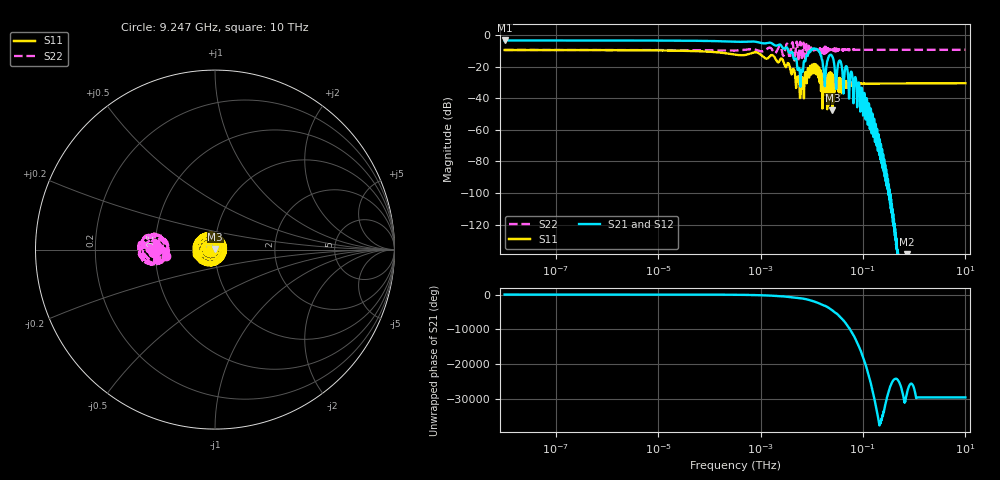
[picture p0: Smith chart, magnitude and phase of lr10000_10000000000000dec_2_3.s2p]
! NPort=2 DATA=4501 NOISE=0 GROUPDELAY=0 COMPLEX_DATAFORMAT=RI
! NumOfBlock=1 NumOfParam=0
! .MODEL Smodel S TSTONEFILE=./link_rx/link_rx_l2/lr10000_10000000000000dec_2_3.s2p TYPE=S
!  -- The above .MODEL line can be used for the S element in the netlist.
# Hz S RI R  50
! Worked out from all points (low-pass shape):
!   4501 points, 10 kHz to 10 THz, reference 50 ohm
!   highest |S21| = -3.52 dB at 10.05 kHz (marker M1); lowest = -198.5 dB at 717.8 GHz (marker M2)
!   |S21| within 3 dB of the highest: start of sweep to 1.874 GHz; 2.182 GHz to 2.49 GHz (308.1 MHz wide, 13.2 % of centre)
!   lowest |S11| = -47.7 dB at 25.35 GHz (marker M3), VSWR 1.01, Z = 50.2 + j0.382 ohm
!   |S11| at or under -10 dB: 23.63 MHz to end of sweep
!   |S22| runs from -16.6 to -4.3 dB; largest |S21 - S12| = 0
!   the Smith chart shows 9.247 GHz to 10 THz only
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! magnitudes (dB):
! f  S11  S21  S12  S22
! 10 kHz  -9.6  -3.5  -3.5  -9.5
! 10.05 kHz  -9.6  -3.5  -3.5  -9.5
! 316.2 kHz  -9.6  -3.5  -3.5  -9.6
! 10 MHz  -9.8  -3.6  -3.6  -9.6
! 316.2 MHz  -12.5  -4.3  -4.3  -9.9
! 2.388 GHz  -15.9  -6.1  -6.1  -6.8
! 3.981 GHz  -24.7  -10.8  -10.8  -7.7
! 6.109 GHz  -36.6  -25.8  -25.8  -6.0
! 10 GHz  -20.7  -9.7  -9.7  -10.5
! 13.87 GHz  -21.1  -10.7  -10.7  -10.2
! 17.86 GHz  -32.8  -31.3  -31.3  -8.1
! 21.88 GHz  -32.5  -13.3  -13.3  -9.5
! 25.35 GHz  -47.7  -13.8  -13.8  -9.3
! 29.24 GHz  -31.2  -30.3  -30.3  -8.8
! 35.48 GHz  -33.7  -16.2  -16.2  -9.4
! 40.74 GHz  -30.7  -30.1  -30.1  -9.8
! 88.31 GHz  -30.9  -45.7  -45.7  -9.4
! 152.8 GHz  -30.8  -49.9  -49.9  -9.4
! 252.3 GHz  -30.7  -82.4  -82.4  -9.4
! 316.2 GHz  -30.7  -95.7  -95.7  -9.4
! 717.8 GHz  -30.7  -198.5  -198.5  -9.4
! 10 THz  -30.5  -  -  -9.4
